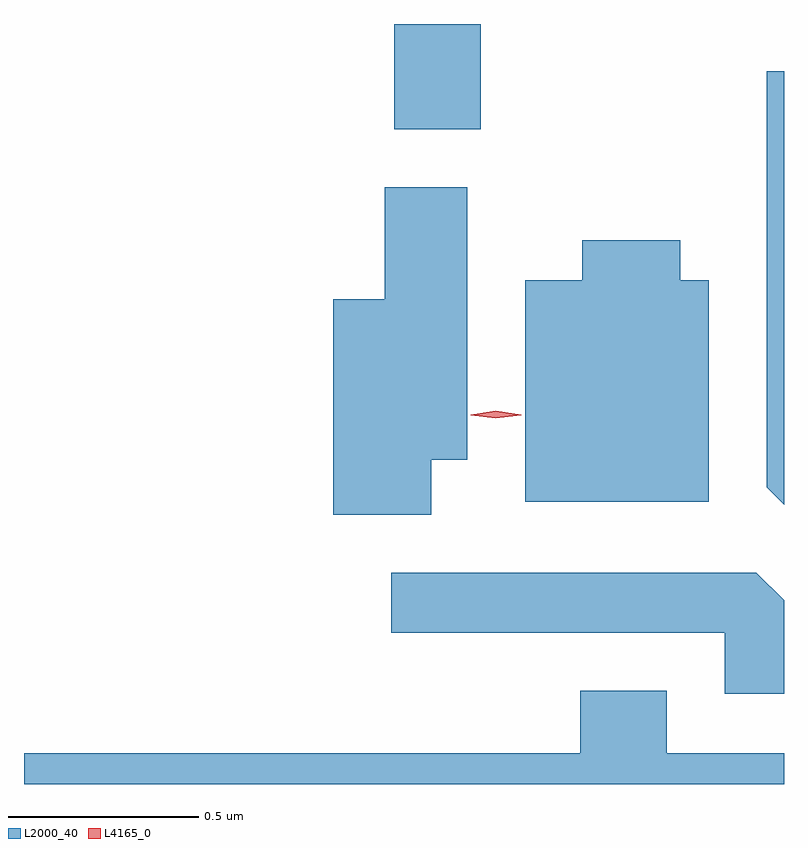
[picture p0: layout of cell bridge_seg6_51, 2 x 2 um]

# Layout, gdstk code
import gdstk
lib = gdstk.Library(unit=1e-6, precision=1e-09)
def R(c, l, rs):  # rectangles x0, y0, x1, y1
    for r in rs: c.add(gdstk.rectangle(r[:2], r[2:], *l))
def P(c, l, *ps):  # polygons
    for p in ps: c.add(gdstk.Polygon(p, *l))
L2000_40 = (2000, 40)
L4165_0 = (4165, 0)

bridge_seg6_51 = lib.new_cell('bridge_seg6_51')
R(bridge_seg6_51, L2000_40, [(1553.241,1585.246,1553.469,1585.523)])
P(bridge_seg6_51, L2000_40, [(1554.267,1585.399),(1554.221,1585.399),(1554.221,1584.304),(1554.267,1584.258)],
  [(1553.339,1584.376),(1553.434,1584.376),(1553.434,1585.094),(1553.216,1585.094),(1553.216,1584.799),(1553.081,1584.799),(1553.081,1584.231),(1553.339,1584.231)],
  [(1554.069,1584.849),(1553.994,1584.849),(1553.994,1584.954),(1553.736,1584.954),(1553.736,1584.849),(1553.586,1584.849),(1553.586,1584.266),(1554.069,1584.266)],
  [(1554.267,1584.006),(1554.194,1584.079),(1553.233,1584.079),(1553.233,1583.921),(1554.111,1583.921),(1554.111,1583.761),(1554.267,1583.761)],
  [(1554.267,1583.604),(1553.959,1583.604),(1553.959,1583.769),(1553.731,1583.769),(1553.731,1583.604),(1552.267,1583.604),(1552.267,1583.523),(1554.267,1583.523)])
P(bridge_seg6_51, L4165_0, [(1553.509,1584.485),(1553.443,1584.494),(1553.443,1584.495),(1553.443,1584.495),(1553.509,1584.505),(1553.575,1584.495),(1553.575,1584.495),(1553.575,1584.494)])

lib.write_gds('bridge_seg6_51.gds')
